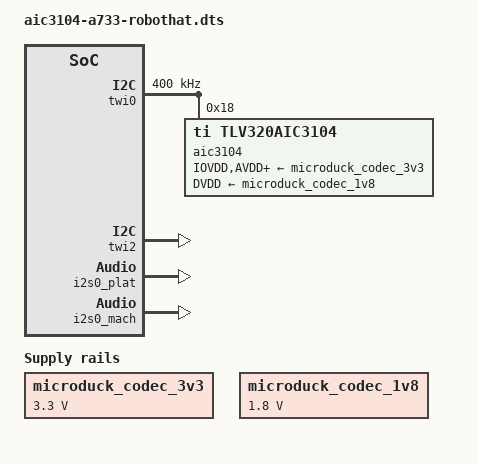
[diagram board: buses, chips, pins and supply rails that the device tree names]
/dts-v1/;
/plugin/;

/*
 * Robot HAT E1 (https://code.caric.io/Robotics/elec_RPI_Robot_HAT) on Orange Pi Zero 3W
 * (Allwinner A733), the head board of a DuckBuddy.
 *
 * Header wiring of the Robot HAT E1:
 *   TWI0:  PB3 SDA pin 3, PB2 SCL pin 5   codec 0x18, INA226 0x45, LSM6DSV16X 0x6A, Qwiic J5
 *                                          (the body IMU, a BNO055 at 0x28, goes here)
 *   TWI2:  PE2 SDA pin 19, PE1 SCL pin 23 Qwiic J8 (the head ToF goes here)
 *   I2S0:  PB5 BCLK pin 12, PB6 LRCK pin 35, PB7 DOUT pin 40, PB8 DIN pin 38
 *   UART0: PB9 TX pin 8, PB10 RX pin 10   servo bus (TX sets the bus direction on the HAT)
 *
 * Board notes:
 *   - The codec has its own 12 MHz oscillator (Y1). PB4 (pin 7) goes to the
 *     HAT's Qwiic J6, so it is not muxed as I2S0 MCLK. The machine driver
 *     still tells the codec its MCLK: mclk-fs = 1 with mclk-fp = 12 MHz for
 *     both rate families, so the codec PLL is set from 12 MHz.
 *   - The codec reset is an RC on the HAT (R6/C38): no reset-gpios.
 *   - The PAM8406 amp is always on (MUTE and SHDN tied high): no amp GPIO.
 *   - UART0 is the board's debug console. Its pin groups are empty in the
 *     base DTB (U-Boot muxes the console), so this overlay gives Linux the
 *     pins. The installer moves the console off ttyS0.
 */

/ {
	compatible = "xunlong,orangepi-4-pro", "arm,sun60iw2p1";

	fragment@0 {
		target-path = "/";

		__overlay__ {
			microduck_codec_3v3: microduck-codec-3v3 {
				compatible = "regulator-fixed";
				regulator-name = "microduck-codec-3v3";
				regulator-min-microvolt = <3300000>;
				regulator-max-microvolt = <3300000>;
				regulator-always-on;
			};

			microduck_codec_1v8: microduck-codec-1v8 {
				compatible = "regulator-fixed";
				regulator-name = "microduck-codec-1v8";
				regulator-min-microvolt = <1800000>;
				regulator-max-microvolt = <1800000>;
				regulator-always-on;
			};
		};
	};

	fragment@1 {
		target = <&twi0>;

		__overlay__ {
			#address-cells = <1>;
			#size-cells = <0>;
			status = "okay";
			twi_drv_used = <1>;
			/* 400 kHz: the BNO055's maximum, and robotd reads it 200 times a second. */
			clock-frequency = <400000>;

			aic3104: codec@18 {
				compatible = "ti,tlv320aic3104";
				reg = <0x18>;
				#sound-dai-cells = <0>;
				/*
				 * MICBIAS stays off: the MEMS mic (MK1) runs from 3V3 and
				 * the electret inputs J2/J9 are biased on the HAT (R42,
				 * R22, R23).
				 */
				IOVDD-supply = <&microduck_codec_3v3>;
				DVDD-supply = <&microduck_codec_1v8>;
				AVDD-supply = <&microduck_codec_3v3>;
				DRVDD-supply = <&microduck_codec_3v3>;
				status = "okay";
			};
		};
	};

	/* Qwiic J8: the head ToF (/dev/i2c-2). */
	fragment@2 {
		target = <&twi2>;

		__overlay__ {
			status = "okay";
			twi_drv_used = <1>;
		};
	};

	fragment@3 {
		target = <&i2s0_plat>;

		__overlay__ {
			/*
			 * No i2s0_pins_a (PB4 MCLK). "sleep" is the same set: the
			 * sunxi driver selects "sleep" when either stream closes,
			 * even while the other still runs, and the stock sleep state
			 * stops BCLK/LRCK to the codec and takes PB4.
			 */
			pinctrl-0 = <&i2s0_pins_b &i2s0_pins_c &i2s0_pins_d &i2s0_pins_e>;
			pinctrl-1 = <&i2s0_pins_b &i2s0_pins_c &i2s0_pins_d &i2s0_pins_e>;
			status = "okay";
		};
	};

	fragment@4 {
		target = <&i2s0_mach>;

		__overlay__ {
			status = "okay";
			soundcard-mach,name = "aic3104";
			soundcard-mach,format = "i2s";
			soundcard-mach,slot-num = <2>;
			soundcard-mach,slot-width = <32>;
			soundcard-mach,jack-support = <0>;
			soundcard-mach,frame-master = <&i2s0_cpu>;
			soundcard-mach,bitclock-master = <&i2s0_cpu>;
			soundcard-mach,widgets =
				"Speaker", "Speaker",
				"Microphone", "Onboard Mic",
				"Microphone", "Mic J2",
				"Microphone", "Mic J9";
			/* J1 (the speaker) is on the amp's right channel. */
			soundcard-mach,routing =
				"Speaker", "LLOUT",
				"Speaker", "RLOUT",
				"MIC2R", "Onboard Mic",
				"LINE1L", "Mic J2",
				"LINE1R", "Mic J9";
		};
	};

	fragment@5 {
		target = <&i2s0_cpu>;

		__overlay__ {
			soundcard-mach,pll-fs = <1>;
			/* The codec's MCLK: the 12 MHz oscillator on the HAT. */
			soundcard-mach,mclk-fs = <1>;
			soundcard-mach,mclk-fp = <12000000 12000000>;
		};
	};

	fragment@6 {
		target = <&i2s0_codec>;

		__overlay__ {
			sound-dai = <&aic3104>;
		};
	};

	/*
	 * The servo bus at 500 kbit/s: 24 MHz / 16 / 3, exact on the stock UART
	 * clock.
	 */
	fragment@7 {
		target = <&uart0_pins_active>;

		__overlay__ {
			pins = "PB9", "PB10";
			function = "uart0";
		};
	};

	fragment@8 {
		target = <&uart0_pins_sleep>;

		__overlay__ {
			pins = "PB9", "PB10";
			function = "gpio_in";
		};
	};
};
